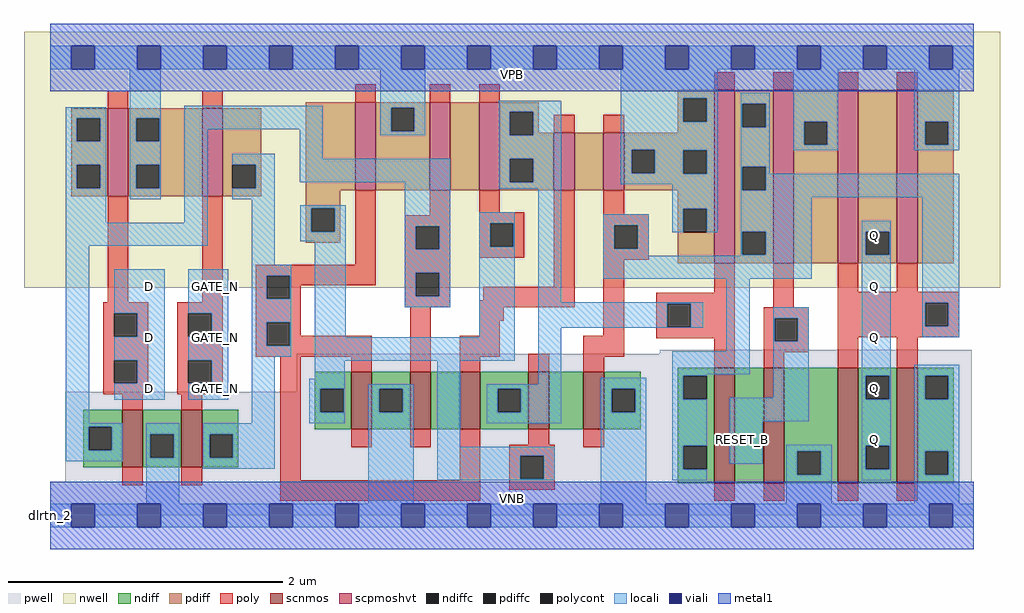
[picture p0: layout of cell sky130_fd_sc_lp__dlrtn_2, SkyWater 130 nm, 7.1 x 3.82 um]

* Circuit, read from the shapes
.subckt sky130_fd_sc_lp__dlrtn_2 D GATE_N RESET_B VGND VNB VPB VPWR Q
XM1 VGND D n1 VNB sky130_fd_pr__nfet_01v8 w=0.42 l=0.15
XM2 n2 GATE_N VGND VNB sky130_fd_pr__nfet_01v8 w=0.42 l=0.15
XM3 VGND n2 n3 VNB sky130_fd_pr__nfet_01v8 w=0.42 l=0.15
XM4 n4 n1 VGND VNB sky130_fd_pr__nfet_01v8 w=0.42 l=0.15
XM5 n5 n2 n4 VNB sky130_fd_pr__nfet_01v8 w=0.42 l=0.15
XM6 n6 n3 n5 VNB sky130_fd_pr__nfet_01v8 w=0.42 l=0.15
XM7 VGND n7 n6 VNB sky130_fd_pr__nfet_01v8 w=0.42 l=0.15
XM8 n8 n5 n7 VNB sky130_fd_pr__nfet_01v8 w=0.84 l=0.15
XM9 VGND RESET_B n8 VNB sky130_fd_pr__nfet_01v8 w=0.84 l=0.15
XM10 Q n7 VGND VNB sky130_fd_pr__nfet_01v8 w=0.84 l=0.15 m=2
XM11 VPWR D n1 VPB sky130_fd_pr__pfet_01v8_hvt w=0.64 l=0.15
XM12 n2 GATE_N VPWR VPB sky130_fd_pr__pfet_01v8_hvt w=0.64 l=0.15
XM13 VPWR n2 n3 VPB sky130_fd_pr__pfet_01v8_hvt w=0.64 l=0.15
XM14 n9 n1 VPWR VPB sky130_fd_pr__pfet_01v8_hvt w=0.64 l=0.15
XM15 n5 n3 n9 VPB sky130_fd_pr__pfet_01v8_hvt w=0.64 l=0.15
XM16 n10 n2 n5 VPB sky130_fd_pr__pfet_01v8_hvt w=0.42 l=0.15
XM17 VPWR n7 n10 VPB sky130_fd_pr__pfet_01v8_hvt w=0.42 l=0.15
XM18 n7 n5 VPWR VPB sky130_fd_pr__pfet_01v8_hvt w=1.26 l=0.15
XM19 VPWR RESET_B n7 VPB sky130_fd_pr__pfet_01v8_hvt w=1.26 l=0.15
XM20 Q n7 VPWR VPB sky130_fd_pr__pfet_01v8_hvt w=1.26 l=0.15 m=2
.ends

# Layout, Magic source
magic
tech sky130A
magscale 1 2
<< nwell >>
rect -38 331 1382 704
<< pwell >>
rect 887 235 1341 241
rect 359 180 1341 235
rect 22 49 1341 180
rect 0 0 1344 49
<< scnmos >>
rect 105 70 135 154
rect 191 70 221 154
rect 438 125 468 209
rect 524 125 554 209
rect 596 125 626 209
rect 696 125 726 209
rect 776 125 806 209
rect 966 47 996 215
rect 1038 47 1068 215
rect 1146 47 1176 215
rect 1232 47 1262 215
<< scpmoshvt >>
rect 84 464 114 592
rect 221 464 251 592
rect 444 473 474 601
rect 552 473 582 601
rect 624 473 654 601
rect 733 473 763 557
rect 805 473 835 557
rect 966 367 996 619
rect 1052 367 1082 619
rect 1146 367 1176 619
rect 1232 367 1262 619
<< ndiff >>
rect 48 129 105 154
rect 48 95 56 129
rect 90 95 105 129
rect 48 70 105 95
rect 135 118 191 154
rect 135 84 146 118
rect 180 84 191 118
rect 135 70 191 84
rect 221 118 274 154
rect 221 84 232 118
rect 266 84 274 118
rect 221 70 274 84
rect 385 184 438 209
rect 385 150 393 184
rect 427 150 438 184
rect 385 125 438 150
rect 468 184 524 209
rect 468 150 479 184
rect 513 150 524 184
rect 468 125 524 150
rect 554 125 596 209
rect 626 184 696 209
rect 626 150 651 184
rect 685 150 696 184
rect 626 125 696 150
rect 726 125 776 209
rect 806 184 859 209
rect 806 150 817 184
rect 851 150 859 184
rect 806 125 859 150
rect 913 203 966 215
rect 913 169 921 203
rect 955 169 966 203
rect 913 101 966 169
rect 913 67 921 101
rect 955 67 966 101
rect 913 47 966 67
rect 996 47 1038 215
rect 1068 93 1146 215
rect 1068 59 1087 93
rect 1121 59 1146 93
rect 1068 47 1146 59
rect 1176 203 1232 215
rect 1176 169 1187 203
rect 1221 169 1232 203
rect 1176 101 1232 169
rect 1176 67 1187 101
rect 1221 67 1232 101
rect 1176 47 1232 67
rect 1262 203 1315 215
rect 1262 169 1273 203
rect 1307 169 1315 203
rect 1262 93 1315 169
rect 1262 59 1273 93
rect 1307 59 1315 93
rect 1262 47 1315 59
<< pdiff >>
rect 913 607 966 619
rect 31 578 84 592
rect 31 544 39 578
rect 73 544 84 578
rect 31 510 84 544
rect 31 476 39 510
rect 73 476 84 510
rect 31 464 84 476
rect 114 578 221 592
rect 114 544 125 578
rect 159 544 221 578
rect 114 510 221 544
rect 114 476 125 510
rect 159 476 221 510
rect 114 464 221 476
rect 251 510 307 592
rect 251 476 265 510
rect 299 476 307 510
rect 251 464 307 476
rect 372 473 444 601
rect 474 593 552 601
rect 474 559 496 593
rect 530 559 552 593
rect 474 473 552 559
rect 582 473 624 601
rect 654 587 711 601
rect 654 553 669 587
rect 703 557 711 587
rect 913 573 921 607
rect 955 573 966 607
rect 913 557 966 573
rect 703 553 733 557
rect 654 519 733 553
rect 654 485 669 519
rect 703 485 733 519
rect 654 473 733 485
rect 763 473 805 557
rect 835 532 966 557
rect 835 498 846 532
rect 880 531 966 532
rect 880 498 921 531
rect 835 497 921 498
rect 955 497 966 531
rect 835 473 966 497
rect 372 447 422 473
rect 372 413 380 447
rect 414 413 422 447
rect 372 397 422 413
rect 913 446 966 473
rect 913 412 921 446
rect 955 412 966 446
rect 913 367 966 412
rect 996 599 1052 619
rect 996 565 1007 599
rect 1041 565 1052 599
rect 996 507 1052 565
rect 996 473 1007 507
rect 1041 473 1052 507
rect 996 413 1052 473
rect 996 379 1007 413
rect 1041 379 1052 413
rect 996 367 1052 379
rect 1082 573 1146 619
rect 1082 539 1097 573
rect 1131 539 1146 573
rect 1082 367 1146 539
rect 1176 413 1232 619
rect 1176 379 1187 413
rect 1221 379 1232 413
rect 1176 367 1232 379
rect 1262 573 1315 619
rect 1262 539 1273 573
rect 1307 539 1315 573
rect 1262 367 1315 539
<< ndiffc >>
rect 56 95 90 129
rect 146 84 180 118
rect 232 84 266 118
rect 393 150 427 184
rect 479 150 513 184
rect 651 150 685 184
rect 817 150 851 184
rect 921 169 955 203
rect 921 67 955 101
rect 1087 59 1121 93
rect 1187 169 1221 203
rect 1187 67 1221 101
rect 1273 169 1307 203
rect 1273 59 1307 93
<< pdiffc >>
rect 39 544 73 578
rect 39 476 73 510
rect 125 544 159 578
rect 125 476 159 510
rect 265 476 299 510
rect 496 559 530 593
rect 669 553 703 587
rect 921 573 955 607
rect 669 485 703 519
rect 846 498 880 532
rect 921 497 955 531
rect 380 413 414 447
rect 921 412 955 446
rect 1007 565 1041 599
rect 1007 473 1041 507
rect 1007 379 1041 413
rect 1097 539 1131 573
rect 1187 379 1221 413
rect 1273 539 1307 573
<< poly >>
rect 84 592 114 618
rect 221 592 251 618
rect 444 601 474 627
rect 552 601 582 627
rect 624 601 654 627
rect 966 619 996 645
rect 1052 619 1082 645
rect 1146 619 1176 645
rect 1232 619 1262 645
rect 733 557 763 583
rect 805 557 835 583
rect 84 310 114 464
rect 221 310 251 464
rect 444 365 474 473
rect 552 437 582 473
rect 77 294 143 310
rect 77 260 93 294
rect 127 260 143 294
rect 77 226 143 260
rect 77 192 93 226
rect 127 192 143 226
rect 77 176 143 192
rect 185 294 251 310
rect 185 260 201 294
rect 235 260 251 294
rect 185 226 251 260
rect 299 349 474 365
rect 299 315 315 349
rect 349 335 474 349
rect 516 421 582 437
rect 516 387 532 421
rect 566 387 582 421
rect 516 353 582 387
rect 624 441 654 473
rect 624 425 690 441
rect 624 391 640 425
rect 674 391 690 425
rect 624 375 690 391
rect 349 315 365 335
rect 299 281 365 315
rect 516 319 532 353
rect 566 319 582 353
rect 733 333 763 473
rect 516 303 582 319
rect 630 313 763 333
rect 624 303 763 313
rect 805 438 835 473
rect 805 422 871 438
rect 805 388 821 422
rect 855 388 871 422
rect 805 372 871 388
rect 299 247 315 281
rect 349 261 365 281
rect 349 247 468 261
rect 299 231 468 247
rect 185 192 201 226
rect 235 192 251 226
rect 185 176 251 192
rect 105 154 135 176
rect 191 154 221 176
rect 105 44 135 70
rect 191 44 221 70
rect 335 51 365 231
rect 438 209 468 231
rect 524 209 554 303
rect 624 283 660 303
rect 624 261 654 283
rect 805 261 835 372
rect 966 324 996 367
rect 596 231 654 261
rect 596 209 626 231
rect 696 209 726 235
rect 776 231 835 261
rect 882 308 996 324
rect 882 274 898 308
rect 932 274 996 308
rect 1052 303 1082 367
rect 1146 325 1176 367
rect 1232 325 1262 367
rect 1146 309 1323 325
rect 882 258 996 274
rect 776 209 806 231
rect 966 215 996 258
rect 1038 287 1104 303
rect 1038 253 1054 287
rect 1088 253 1104 287
rect 1038 237 1104 253
rect 1146 275 1273 309
rect 1307 275 1323 309
rect 1146 259 1323 275
rect 1038 215 1068 237
rect 1146 215 1176 259
rect 1232 215 1262 259
rect 438 99 468 125
rect 524 99 554 125
rect 596 51 626 125
rect 696 103 726 125
rect 335 21 626 51
rect 668 87 734 103
rect 776 99 806 125
rect 668 53 684 87
rect 718 53 734 87
rect 668 37 734 53
rect 966 21 996 47
rect 1038 21 1068 47
rect 1146 21 1176 47
rect 1232 21 1262 47
<< polycont >>
rect 93 260 127 294
rect 93 192 127 226
rect 201 260 235 294
rect 315 315 349 349
rect 532 387 566 421
rect 640 391 674 425
rect 532 319 566 353
rect 821 388 855 422
rect 315 247 349 281
rect 201 192 235 226
rect 898 274 932 308
rect 1054 253 1088 287
rect 1273 275 1307 309
rect 684 53 718 87
<< locali >>
rect 0 649 31 683
rect 65 649 127 683
rect 161 649 223 683
rect 257 649 319 683
rect 353 649 415 683
rect 449 649 511 683
rect 545 649 607 683
rect 641 649 703 683
rect 737 649 799 683
rect 833 649 895 683
rect 929 649 991 683
rect 1025 649 1087 683
rect 1121 649 1183 683
rect 1217 649 1279 683
rect 1313 649 1344 683
rect 23 578 82 594
rect 23 544 39 578
rect 73 544 82 578
rect 23 510 82 544
rect 23 476 39 510
rect 73 476 82 510
rect 23 426 82 476
rect 116 578 161 649
rect 116 544 125 578
rect 159 544 161 578
rect 116 510 161 544
rect 116 476 125 510
rect 159 476 161 510
rect 116 460 161 476
rect 195 562 397 596
rect 195 426 229 562
rect 265 510 327 526
rect 299 476 327 510
rect 363 519 397 562
rect 480 593 546 649
rect 830 607 971 649
rect 480 559 496 593
rect 530 559 546 593
rect 480 553 546 559
rect 653 587 744 603
rect 653 553 669 587
rect 703 553 744 587
rect 653 519 744 553
rect 363 485 582 519
rect 265 460 327 476
rect 23 392 229 426
rect 23 134 57 392
rect 293 365 327 460
rect 364 447 430 451
rect 364 413 380 447
rect 414 413 430 447
rect 364 399 430 413
rect 93 294 167 358
rect 127 260 167 294
rect 93 226 167 260
rect 127 192 167 226
rect 93 168 167 192
rect 201 294 259 358
rect 235 260 259 294
rect 201 226 259 260
rect 235 192 259 226
rect 201 168 259 192
rect 293 349 351 365
rect 293 315 315 349
rect 349 315 351 349
rect 293 281 351 315
rect 293 247 315 281
rect 349 247 351 281
rect 293 231 351 247
rect 385 259 430 399
rect 516 421 582 485
rect 653 485 669 519
rect 703 485 744 519
rect 653 475 744 485
rect 830 573 921 607
rect 955 573 971 607
rect 830 532 971 573
rect 830 498 846 532
rect 880 531 971 532
rect 880 498 921 531
rect 830 497 921 498
rect 955 497 971 531
rect 830 482 971 497
rect 516 387 532 421
rect 566 387 582 421
rect 516 353 582 387
rect 516 319 532 353
rect 566 319 582 353
rect 516 303 582 319
rect 624 425 676 441
rect 624 391 640 425
rect 674 391 676 425
rect 624 259 676 391
rect 293 134 327 231
rect 385 225 676 259
rect 710 310 744 475
rect 905 446 971 482
rect 805 422 871 438
rect 805 388 821 422
rect 855 388 871 422
rect 905 412 921 446
rect 955 412 971 446
rect 1005 599 1047 615
rect 1005 565 1007 599
rect 1041 565 1047 599
rect 1005 507 1047 565
rect 1081 573 1147 649
rect 1081 539 1097 573
rect 1131 539 1147 573
rect 1081 531 1147 539
rect 1257 573 1323 649
rect 1257 539 1273 573
rect 1307 539 1323 573
rect 1257 531 1323 539
rect 1005 473 1007 507
rect 1041 497 1047 507
rect 1041 473 1323 497
rect 1005 463 1323 473
rect 1005 413 1108 463
rect 805 378 871 388
rect 1005 379 1007 413
rect 1041 379 1108 413
rect 1005 378 1108 379
rect 805 344 1108 378
rect 1181 413 1223 429
rect 1181 379 1187 413
rect 1221 379 1223 413
rect 710 308 950 310
rect 710 274 898 308
rect 932 274 950 308
rect 710 273 950 274
rect 385 199 429 225
rect 377 184 429 199
rect 377 150 393 184
rect 427 150 429 184
rect 377 134 429 150
rect 463 184 529 191
rect 463 150 479 184
rect 513 150 529 184
rect 23 129 106 134
rect 23 95 56 129
rect 90 95 106 129
rect 23 79 106 95
rect 140 118 188 134
rect 140 84 146 118
rect 180 84 188 118
rect 140 17 188 84
rect 222 118 327 134
rect 222 84 232 118
rect 266 84 327 118
rect 222 68 327 84
rect 463 17 529 150
rect 563 100 597 225
rect 710 191 744 273
rect 984 239 1018 344
rect 905 205 1018 239
rect 1052 287 1104 303
rect 1052 253 1054 287
rect 1088 253 1104 287
rect 905 203 955 205
rect 635 184 744 191
rect 635 150 651 184
rect 685 150 744 184
rect 635 134 744 150
rect 801 184 867 200
rect 801 150 817 184
rect 851 150 867 184
rect 563 87 734 100
rect 563 53 684 87
rect 718 53 734 87
rect 563 51 734 53
rect 801 17 867 150
rect 905 169 921 203
rect 1052 171 1104 253
rect 905 101 955 169
rect 905 67 921 101
rect 989 137 1104 171
rect 1181 203 1223 379
rect 1269 309 1323 463
rect 1269 275 1273 309
rect 1307 275 1323 309
rect 1269 259 1323 275
rect 1181 169 1187 203
rect 1221 169 1223 203
rect 989 75 1037 137
rect 1071 93 1137 103
rect 905 51 955 67
rect 1071 59 1087 93
rect 1121 59 1137 93
rect 1071 17 1137 59
rect 1181 101 1223 169
rect 1181 67 1187 101
rect 1221 67 1223 101
rect 1181 51 1223 67
rect 1257 203 1323 219
rect 1257 169 1273 203
rect 1307 169 1323 203
rect 1257 93 1323 169
rect 1257 59 1273 93
rect 1307 59 1323 93
rect 1257 17 1323 59
rect 0 -17 31 17
rect 65 -17 127 17
rect 161 -17 223 17
rect 257 -17 319 17
rect 353 -17 415 17
rect 449 -17 511 17
rect 545 -17 607 17
rect 641 -17 703 17
rect 737 -17 799 17
rect 833 -17 895 17
rect 929 -17 991 17
rect 1025 -17 1087 17
rect 1121 -17 1183 17
rect 1217 -17 1279 17
rect 1313 -17 1344 17
<< viali >>
rect 31 649 65 683
rect 127 649 161 683
rect 223 649 257 683
rect 319 649 353 683
rect 415 649 449 683
rect 511 649 545 683
rect 607 649 641 683
rect 703 649 737 683
rect 799 649 833 683
rect 895 649 929 683
rect 991 649 1025 683
rect 1087 649 1121 683
rect 1183 649 1217 683
rect 1279 649 1313 683
rect 31 -17 65 17
rect 127 -17 161 17
rect 223 -17 257 17
rect 319 -17 353 17
rect 415 -17 449 17
rect 511 -17 545 17
rect 607 -17 641 17
rect 703 -17 737 17
rect 799 -17 833 17
rect 895 -17 929 17
rect 991 -17 1025 17
rect 1087 -17 1121 17
rect 1183 -17 1217 17
rect 1279 -17 1313 17
<< metal1 >>
rect 0 683 1344 715
rect 0 649 31 683
rect 65 649 127 683
rect 161 649 223 683
rect 257 649 319 683
rect 353 649 415 683
rect 449 649 511 683
rect 545 649 607 683
rect 641 649 703 683
rect 737 649 799 683
rect 833 649 895 683
rect 929 649 991 683
rect 1025 649 1087 683
rect 1121 649 1183 683
rect 1217 649 1279 683
rect 1313 649 1344 683
rect 0 617 1344 649
rect 0 17 1344 49
rect 0 -17 31 17
rect 65 -17 127 17
rect 161 -17 223 17
rect 257 -17 319 17
rect 353 -17 415 17
rect 449 -17 511 17
rect 545 -17 607 17
rect 641 -17 703 17
rect 737 -17 799 17
rect 833 -17 895 17
rect 929 -17 991 17
rect 1025 -17 1087 17
rect 1121 -17 1183 17
rect 1217 -17 1279 17
rect 1313 -17 1344 17
rect 0 -49 1344 -17
<< labels >>
flabel pwell s 0 0 1344 49 0 FreeSans 200 0 0 0 VNB
port 5 nsew ground bidirectional
flabel nwell s 0 617 1344 666 0 FreeSans 200 0 0 0 VPB
port 6 nsew power bidirectional
rlabel comment s 0 0 0 0 4 dlrtn_2
flabel metal1 s 0 617 1344 666 0 FreeSans 340 0 0 0 VPWR
port 7 nsew power bidirectional
flabel metal1 s 0 0 1344 49 0 FreeSans 340 0 0 0 VGND
port 4 nsew ground bidirectional
flabel locali s 127 168 161 202 0 FreeSans 340 0 0 0 D
port 1 nsew signal input
flabel locali s 127 242 161 276 0 FreeSans 340 0 0 0 D
port 1 nsew signal input
flabel locali s 127 316 161 350 0 FreeSans 340 0 0 0 D
port 1 nsew signal input
flabel locali s 991 94 1025 128 0 FreeSans 340 0 0 0 RESET_B
port 3 nsew signal input
flabel locali s 223 168 257 202 0 FreeSans 340 0 0 0 GATE_N
port 2 nsew clock input
flabel locali s 223 242 257 276 0 FreeSans 340 0 0 0 GATE_N
port 2 nsew clock input
flabel locali s 223 316 257 350 0 FreeSans 340 0 0 0 GATE_N
port 2 nsew clock input
flabel locali s 1183 94 1217 128 0 FreeSans 340 0 0 0 Q
port 8 nsew signal output
flabel locali s 1183 168 1217 202 0 FreeSans 340 0 0 0 Q
port 8 nsew signal output
flabel locali s 1183 390 1217 424 0 FreeSans 340 0 0 0 Q
port 8 nsew signal output
flabel locali s 1183 242 1217 276 0 FreeSans 340 0 0 0 Q
port 8 nsew signal output
flabel locali s 1183 316 1217 350 0 FreeSans 340 0 0 0 Q
port 8 nsew signal output
<< properties >>
string LEFsite unit
string LEFclass CORE
string FIXED_BBOX 0 0 1344 666
string GDS_FILE $PDKPATH/libs.ref/sky130_fd_sc_lp/gds/sky130_fd_sc_lp.gds
string LEFsymmetry X Y R90
string GDS_END 2701304
string GDS_START 2690128
<< end >>
